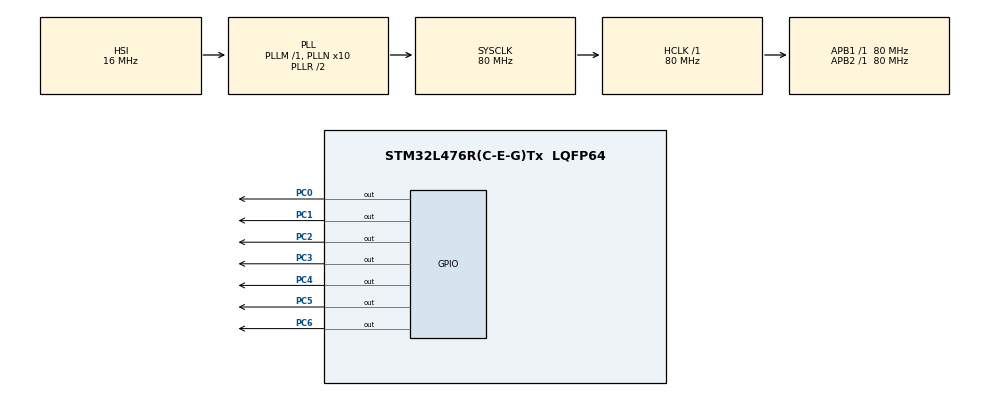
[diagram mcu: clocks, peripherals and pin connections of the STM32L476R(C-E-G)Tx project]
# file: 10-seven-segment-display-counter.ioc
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Mcu.Family=STM32L4
Mcu.Name=STM32L476R(C-E-G)Tx
Mcu.Package=LQFP64
NVIC.PriorityGroup=NVIC_PRIORITYGROUP_4
PC0.Signal=GPIO_Output
PC1.Signal=GPIO_Output
PC2.Signal=GPIO_Output
PC3.Signal=GPIO_Output
PC4.Signal=GPIO_Output
PC5.Signal=GPIO_Output
PC6.Signal=GPIO_Output
ProjectManager.HeapSize=0x200
ProjectManager.StackSize=0x400
ProjectManager.TargetToolchain=STM32CubeIDE
RCC.ADCFreq_Value=64000000
RCC.AHBFreq_Value=80000000
RCC.APB1Freq_Value=80000000
RCC.APB1TimFreq_Value=80000000
RCC.APB2Freq_Value=80000000
RCC.APB2TimFreq_Value=80000000
RCC.CortexFreq_Value=80000000
RCC.HCLKFreq_Value=80000000
RCC.HSE_VALUE=8000000
RCC.HSI_VALUE=16000000
RCC.MSI_VALUE=4000000
RCC.PLLN=10
RCC.PLLSourceVirtual=RCC_PLLSOURCE_HSI
RCC.PREFETCH_ENABLE=1
RCC.SYSCLKFreq_VALUE=80000000
RCC.SYSCLKSource=RCC_SYSCLKSOURCE_PLLCLK
RCC.USBFreq_Value=64000000
RCC.VCOOutputFreq_Value=160000000
board=NUCLEO-L476RG

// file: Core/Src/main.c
/* USER CODE BEGIN Header */
/**
  ******************************************************************************
  * @file           : main.c
  * @brief          : Main program body
  ******************************************************************************
  * @attention
  *
  * Copyright (c) 2025 STMicroelectronics.
  * All rights reserved.
  *
  * This software is licensed under terms that can be found in the LICENSE file
  * in the root directory of this software component.
  * If no LICENSE file comes with this software, it is provided AS-IS.
  *
  ******************************************************************************
  */
/* USER CODE END Header */
#include "main.h"

void SystemClock_Config(void);
static void MX_GPIO_Init(void);

/* USER CODE BEGIN 0 */

//array of register hex number
int LED_Hex[] = {
  0x3F,    // 0
  0x06,    // 1
  0x5B,    // 2
  0x4F,    // 3
  0x66,    // 4
  0x6D,    // 5
  0x7D,    // 6
  0x07,    // 7
  0x7F,    // 8
  0x6F     // 9
};

/* USER CODE END 0 */

int main(void)
{

  /* MCU Configuration--------------------------------------------------------*/

  /* Reset of all peripherals, Initializes the Flash interface and the Systick. */
  HAL_Init();

  /* Configure the system clock */
  SystemClock_Config();

  /* Initialize all configured peripherals */
  MX_GPIO_Init();
  /* USER CODE BEGIN 2 */
  int CountNumber = 0;    //count number
  /* USER CODE END 2 */

  /* Infinite loop */
  /* USER CODE BEGIN WHILE */
  while (1)
  {
    GPIOC -> ODR = LED_Hex[CountNumber];    //write hex number to output data register
    CountNumber++;    //counter increment
    if(CountNumber > 9) {
      CountNumber = 0;    //reset counter to zero
    }
    HAL_Delay(1000);
    /* USER CODE END WHILE */

  }
}

void SystemClock_Config(void)
{
  RCC_OscInitTypeDef RCC_OscInitStruct = {0};
  RCC_ClkInitTypeDef RCC_ClkInitStruct = {0};

  /** Configure the main internal regulator output voltage
  */
  if (HAL_PWREx_ControlVoltageScaling(PWR_REGULATOR_VOLTAGE_SCALE1) != HAL_OK)
  {
    Error_Handler();
  }

  /** Initializes the RCC Oscillators according to the specified parameters
  * in the RCC_OscInitTypeDef structure.
  */
  RCC_OscInitStruct.OscillatorType = RCC_OSCILLATORTYPE_HSI;
  RCC_OscInitStruct.HSIState = RCC_HSI_ON;
  RCC_OscInitStruct.HSICalibrationValue = RCC_HSICALIBRATION_DEFAULT;
  RCC_OscInitStruct.PLL.PLLState = RCC_PLL_ON;
  RCC_OscInitStruct.PLL.PLLSource = RCC_PLLSOURCE_HSI;
  RCC_OscInitStruct.PLL.PLLM = 1;
  RCC_OscInitStruct.PLL.PLLN = 10;
  RCC_OscInitStruct.PLL.PLLP = RCC_PLLP_DIV7;
  RCC_OscInitStruct.PLL.PLLQ = RCC_PLLQ_DIV2;
  RCC_OscInitStruct.PLL.PLLR = RCC_PLLR_DIV2;
  if (HAL_RCC_OscConfig(&RCC_OscInitStruct) != HAL_OK)
  {
    Error_Handler();
  }

  /** Initializes the CPU, AHB and APB buses clocks
  */
  RCC_ClkInitStruct.ClockType = RCC_CLOCKTYPE_HCLK|RCC_CLOCKTYPE_SYSCLK
                              |RCC_CLOCKTYPE_PCLK1|RCC_CLOCKTYPE_PCLK2;
  RCC_ClkInitStruct.SYSCLKSource = RCC_SYSCLKSOURCE_PLLCLK;
  RCC_ClkInitStruct.AHBCLKDivider = RCC_SYSCLK_DIV1;
  RCC_ClkInitStruct.APB1CLKDivider = RCC_HCLK_DIV1;
  RCC_ClkInitStruct.APB2CLKDivider = RCC_HCLK_DIV1;

  if (HAL_RCC_ClockConfig(&RCC_ClkInitStruct, FLASH_LATENCY_4) != HAL_OK)
  {
    Error_Handler();
  }
}

static void MX_GPIO_Init(void)
{
  GPIO_InitTypeDef GPIO_InitStruct = {0};

  /* GPIO Ports Clock Enable */
  __HAL_RCC_GPIOC_CLK_ENABLE();

  /*Configure GPIO pin Output Level */
  HAL_GPIO_WritePin(GPIOC, GPIO_PIN_0|GPIO_PIN_1|GPIO_PIN_2|GPIO_PIN_3
                          |GPIO_PIN_4|GPIO_PIN_5|GPIO_PIN_6, GPIO_PIN_RESET);

  /*Configure GPIO pins : PC0 PC1 PC2 PC3
                           PC4 PC5 PC6 */
  GPIO_InitStruct.Pin = GPIO_PIN_0|GPIO_PIN_1|GPIO_PIN_2|GPIO_PIN_3
                          |GPIO_PIN_4|GPIO_PIN_5|GPIO_PIN_6;
  GPIO_InitStruct.Mode = GPIO_MODE_OUTPUT_PP;
  GPIO_InitStruct.Pull = GPIO_NOPULL;
  GPIO_InitStruct.Speed = GPIO_SPEED_FREQ_LOW;
  HAL_GPIO_Init(GPIOC, &GPIO_InitStruct);

}

void Error_Handler(void)
{
  __disable_irq();
  while (1)
  {
  }
}
